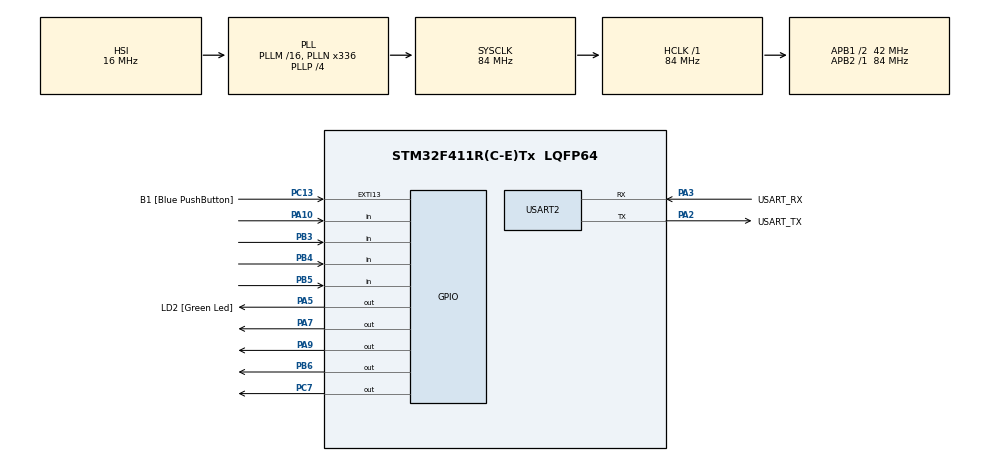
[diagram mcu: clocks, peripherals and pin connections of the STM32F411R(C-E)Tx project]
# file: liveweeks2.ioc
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Mcu.Family=STM32F4
Mcu.Name=STM32F411R(C-E)Tx
Mcu.Package=LQFP64
NVIC.PriorityGroup=NVIC_PRIORITYGROUP_0
PA10.GPIO_PuPd=GPIO_PULLUP
PA10.Signal=GPIO_Input
PA13.GPIO_Label=TMS
PA13.Mode=Serial_Wire
PA13.Signal=SYS_JTMS-SWDIO
PA14.GPIO_Label=TCK
PA14.Mode=Serial_Wire
PA14.Signal=SYS_JTCK-SWCLK
PA2.GPIO_Label=USART_TX
PA2.Mode=Asynchronous
PA2.Signal=USART2_TX
PA3.GPIO_Label=USART_RX
PA3.Mode=Asynchronous
PA3.Signal=USART2_RX
PA5.GPIO_Label=LD2 [Green Led]
PA5.PinState=GPIO_PIN_RESET
PA5.Signal=GPIO_Output
PA7.PinState=GPIO_PIN_SET
PA7.Signal=GPIO_Output
PA9.PinState=GPIO_PIN_SET
PA9.Signal=GPIO_Output
PB3.GPIO_PuPd=GPIO_PULLUP
PB3.Signal=GPIO_Input
PB4.GPIO_PuPd=GPIO_PULLUP
PB4.Signal=GPIO_Input
PB5.GPIO_PuPd=GPIO_PULLUP
PB5.Signal=GPIO_Input
PB6.PinState=GPIO_PIN_SET
PB6.Signal=GPIO_Output
PC13-ANTI_TAMP.GPIO_Label=B1 [Blue PushButton]
PC13-ANTI_TAMP.GPIO_ModeDefaultEXTI=GPIO_MODE_IT_FALLING
PC13-ANTI_TAMP.Signal=GPXTI13
PC14-OSC32_IN.Mode=LSE-External-Oscillator
PC14-OSC32_IN.Signal=RCC_OSC32_IN
PC15-OSC32_OUT.Mode=LSE-External-Oscillator
PC15-OSC32_OUT.Signal=RCC_OSC32_OUT
PC7.PinState=GPIO_PIN_SET
PC7.Signal=GPIO_Output
PH0\ -\ OSC_IN.Mode=HSE-External-Clock-Source
PH0\ -\ OSC_IN.Signal=RCC_OSC_IN
PH1\ -\ OSC_OUT.Mode=HSE-External-Clock-Source
PH1\ -\ OSC_OUT.Signal=RCC_OSC_OUT
ProjectManager.HeapSize=0x200
ProjectManager.StackSize=0x400
ProjectManager.TargetToolchain=STM32CubeIDE
RCC.48MHZClocksFreq_Value=84000000
RCC.AHBFreq_Value=84000000
RCC.APB1CLKDivider=RCC_HCLK_DIV2
RCC.APB1Freq_Value=42000000
RCC.APB1TimFreq_Value=84000000
RCC.APB2Freq_Value=84000000
RCC.APB2TimFreq_Value=84000000
RCC.CortexFreq_Value=84000000
RCC.FLatency-AdvancedSettings=FLASH_LATENCY_2
RCC.HCLKFreq_Value=84000000
RCC.HSE_VALUE=8000000
RCC.HSI_VALUE=16000000
RCC.PLLN=336
RCC.PLLP=RCC_PLLP_DIV4
RCC.SYSCLKFreq_VALUE=84000000
RCC.SYSCLKSource=RCC_SYSCLKSOURCE_PLLCLK
RCC.VCOOutputFreq_Value=336000000
USART2.VirtualMode=VM_ASYNC
board=NUCLEO-F411RE

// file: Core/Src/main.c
/* USER CODE BEGIN Header */
/**
  ******************************************************************************
  * @file           : main.c
  * @brief          : Main program body
  ******************************************************************************
  * @attention
  *
  * <h2><center>&copy; Copyright (c) 2021 STMicroelectronics.
  * All rights reserved.</center></h2>
  *
  * This software component is licensed by ST under BSD 3-Clause license,
  * the "License"; You may not use this file except in compliance with the
  * License. You may obtain a copy of the License at:
  *                        opensource.org/licenses/BSD-3-Clause
  *
  ******************************************************************************
  */
/* USER CODE END Header */
#include "main.h"

UART_HandleTypeDef huart2;

/* USER CODE BEGIN PV */
uint16_t ButtonMatrixState=0;
uint32_t ButtonMatrixTimestamp=0;
/* USER CODE END PV */

void SystemClock_Config(void);
static void MX_GPIO_Init(void);
static void MX_USART2_UART_Init(void);
/* USER CODE BEGIN PFP */
void  ButtonMatrixUpdate();
/* USER CODE END PFP */

int main(void)
{

  /* MCU Configuration--------------------------------------------------------*/

  /* Reset of all peripherals, Initializes the Flash interface and the Systick. */
  HAL_Init();

  /* Configure the system clock */
  SystemClock_Config();

  /* Initialize all configured peripherals */
  MX_GPIO_Init();
  MX_USART2_UART_Init();

  /* Infinite loop */
  while (1)
  {

    /* USER CODE BEGIN 3 */
	  ButtonMatrixUpdate();
  }
  /* USER CODE END 3 */
}

void SystemClock_Config(void)
{
  RCC_OscInitTypeDef RCC_OscInitStruct = {0};
  RCC_ClkInitTypeDef RCC_ClkInitStruct = {0};

  /** Configure the main internal regulator output voltage
  */
  __HAL_RCC_PWR_CLK_ENABLE();
  __HAL_PWR_VOLTAGESCALING_CONFIG(PWR_REGULATOR_VOLTAGE_SCALE1);
  /** Initializes the RCC Oscillators according to the specified parameters
  * in the RCC_OscInitTypeDef structure.
  */
  RCC_OscInitStruct.OscillatorType = RCC_OSCILLATORTYPE_HSI;
  RCC_OscInitStruct.HSIState = RCC_HSI_ON;
  RCC_OscInitStruct.HSICalibrationValue = RCC_HSICALIBRATION_DEFAULT;
  RCC_OscInitStruct.PLL.PLLState = RCC_PLL_ON;
  RCC_OscInitStruct.PLL.PLLSource = RCC_PLLSOURCE_HSI;
  RCC_OscInitStruct.PLL.PLLM = 16;
  RCC_OscInitStruct.PLL.PLLN = 336;
  RCC_OscInitStruct.PLL.PLLP = RCC_PLLP_DIV4;
  RCC_OscInitStruct.PLL.PLLQ = 4;
  if (HAL_RCC_OscConfig(&RCC_OscInitStruct) != HAL_OK)
  {
    Error_Handler();
  }
  /** Initializes the CPU, AHB and APB buses clocks
  */
  RCC_ClkInitStruct.ClockType = RCC_CLOCKTYPE_HCLK|RCC_CLOCKTYPE_SYSCLK
                              |RCC_CLOCKTYPE_PCLK1|RCC_CLOCKTYPE_PCLK2;
  RCC_ClkInitStruct.SYSCLKSource = RCC_SYSCLKSOURCE_PLLCLK;
  RCC_ClkInitStruct.AHBCLKDivider = RCC_SYSCLK_DIV1;
  RCC_ClkInitStruct.APB1CLKDivider = RCC_HCLK_DIV2;
  RCC_ClkInitStruct.APB2CLKDivider = RCC_HCLK_DIV1;

  if (HAL_RCC_ClockConfig(&RCC_ClkInitStruct, FLASH_LATENCY_2) != HAL_OK)
  {
    Error_Handler();
  }
}

static void MX_USART2_UART_Init(void)
{

  huart2.Instance = USART2;
  huart2.Init.BaudRate = 115200;
  huart2.Init.WordLength = UART_WORDLENGTH_8B;
  huart2.Init.StopBits = UART_STOPBITS_1;
  huart2.Init.Parity = UART_PARITY_NONE;
  huart2.Init.Mode = UART_MODE_TX_RX;
  huart2.Init.HwFlowCtl = UART_HWCONTROL_NONE;
  huart2.Init.OverSampling = UART_OVERSAMPLING_16;
  if (HAL_UART_Init(&huart2) != HAL_OK)
  {
    Error_Handler();
  }

}

static void MX_GPIO_Init(void)
{
  GPIO_InitTypeDef GPIO_InitStruct = {0};

  /* GPIO Ports Clock Enable */
  __HAL_RCC_GPIOC_CLK_ENABLE();
  __HAL_RCC_GPIOH_CLK_ENABLE();
  __HAL_RCC_GPIOA_CLK_ENABLE();
  __HAL_RCC_GPIOB_CLK_ENABLE();

  /*Configure GPIO pin Output Level */
  HAL_GPIO_WritePin(LD2_GPIO_Port, LD2_Pin, GPIO_PIN_RESET);

  /*Configure GPIO pin Output Level */
  HAL_GPIO_WritePin(GPIOA, GPIO_PIN_7|GPIO_PIN_9, GPIO_PIN_SET);

  /*Configure GPIO pin Output Level */
  HAL_GPIO_WritePin(GPIOC, GPIO_PIN_7, GPIO_PIN_SET);

  /*Configure GPIO pin Output Level */
  HAL_GPIO_WritePin(GPIOB, GPIO_PIN_6, GPIO_PIN_SET);

  /*Configure GPIO pin : B1_Pin */
  GPIO_InitStruct.Pin = B1_Pin;
  GPIO_InitStruct.Mode = GPIO_MODE_IT_FALLING;
  GPIO_InitStruct.Pull = GPIO_NOPULL;
  HAL_GPIO_Init(B1_GPIO_Port, &GPIO_InitStruct);

  /*Configure GPIO pins : LD2_Pin PA7 PA9 */
  GPIO_InitStruct.Pin = LD2_Pin|GPIO_PIN_7|GPIO_PIN_9;
  GPIO_InitStruct.Mode = GPIO_MODE_OUTPUT_PP;
  GPIO_InitStruct.Pull = GPIO_NOPULL;
  GPIO_InitStruct.Speed = GPIO_SPEED_FREQ_LOW;
  HAL_GPIO_Init(GPIOA, &GPIO_InitStruct);

  /*Configure GPIO pin : PC7 */
  GPIO_InitStruct.Pin = GPIO_PIN_7;
  GPIO_InitStruct.Mode = GPIO_MODE_OUTPUT_PP;
  GPIO_InitStruct.Pull = GPIO_NOPULL;
  GPIO_InitStruct.Speed = GPIO_SPEED_FREQ_LOW;
  HAL_GPIO_Init(GPIOC, &GPIO_InitStruct);

  /*Configure GPIO pin : PA10 */
  GPIO_InitStruct.Pin = GPIO_PIN_10;
  GPIO_InitStruct.Mode = GPIO_MODE_INPUT;
  GPIO_InitStruct.Pull = GPIO_PULLUP;
  HAL_GPIO_Init(GPIOA, &GPIO_InitStruct);

  /*Configure GPIO pins : PB3 PB4 PB5 */
  GPIO_InitStruct.Pin = GPIO_PIN_3|GPIO_PIN_4|GPIO_PIN_5;
  GPIO_InitStruct.Mode = GPIO_MODE_INPUT;
  GPIO_InitStruct.Pull = GPIO_PULLUP;
  HAL_GPIO_Init(GPIOB, &GPIO_InitStruct);

  /*Configure GPIO pin : PB6 */
  GPIO_InitStruct.Pin = GPIO_PIN_6;
  GPIO_InitStruct.Mode = GPIO_MODE_OUTPUT_PP;
  GPIO_InitStruct.Pull = GPIO_NOPULL;
  GPIO_InitStruct.Speed = GPIO_SPEED_FREQ_LOW;
  HAL_GPIO_Init(GPIOB, &GPIO_InitStruct);

}

/* USER CODE BEGIN 4 */
GPIO_TypeDef* ButtonMatrixPort[8]={GPIOA,GPIOB,GPIOB,GPIOB,GPIOA,GPIOC,GPIOB,GPIOA};
uint16_t ButtonMatrixPin[8]={GPIO_PIN_10,GPIO_PIN_3,GPIO_PIN_5,GPIO_PIN_4,GPIO_PIN_9,
		GPIO_PIN_7,GPIO_PIN_6,GPIO_PIN_7};
uint8_t ButtonMatrixRow=0;
void ButtonMatrixUpdate()
{
	if(HAL_GetTick()-ButtonMatrixTimestamp>=100)
	{
		ButtonMatrixTimestamp=HAL_GetTick();
		int i;
		for(i=0 ; i<4 ; i+=1)
		{
			GPIO_PinState PinState= HAL_GPIO_ReadPin(ButtonMatrixPort[i], ButtonMatrixPin[i]);
			if(PinState==GPIO_PIN_RESET)
			{
				ButtonMatrixState != (uint16_t)1<<i;
			}
			else
			{
				ButtonMatrixState &= ~((uint16_t)1<<i);
			}
		}
		uint8_t NowOutputPin=ButtonMatrixRow+4;
		HAL_GPIO_WritePin(ButtonMatrixPort[NowOutputPin], ButtonMatrixPin[NowOutputPin], GPIO_PIN_SET);

		ButtonMatrixRow=(ButtonMatrixRow+1)%4;

		uint8_t NextOutputPin=ButtonMatrixRow+4;
		HAL_GPIO_WritePin(ButtonMatrixPort[NextOutputPin], ButtonMatrixPin[NextOutputPin], GPIO_PIN_RESET);

	}
}
/* USER CODE END 4 */

void Error_Handler(void)
{
  __disable_irq();
  while (1)
  {
  }
}

/************************ (C) COPYRIGHT STMicroelectronics *****END OF FILE****/
